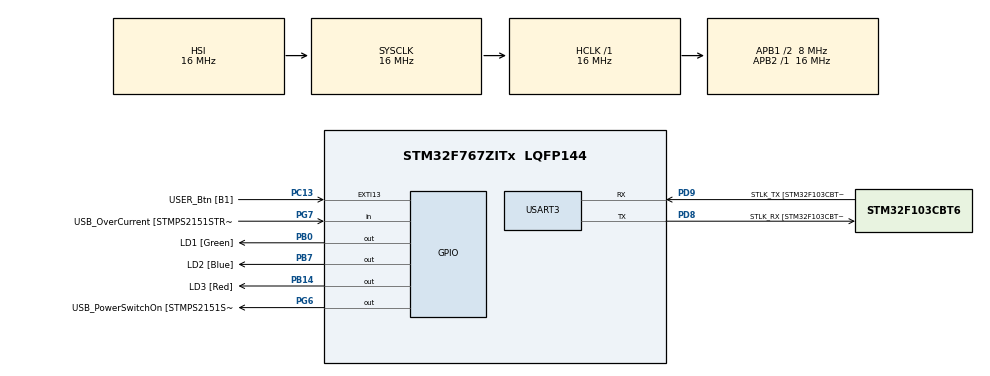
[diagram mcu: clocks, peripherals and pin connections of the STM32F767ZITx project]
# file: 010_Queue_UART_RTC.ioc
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Mcu.Family=STM32F7
Mcu.Name=STM32F767ZITx
Mcu.Package=LQFP144
NVIC.PriorityGroup=NVIC_PRIORITYGROUP_4
NVIC.TIM6_DAC_IRQn=true\:15\:0\:false\:false\:true\:false\:true\:true
NVIC.TimeBase=TIM6_DAC_IRQn
NVIC.TimeBaseIP=TIM6
NVIC.USART3_IRQn=true\:7\:0\:true\:false\:true\:true\:true\:true
PA1.GPIO_Label=RMII_REF_CLK [LAN8742A-CZ-TR_REFCLK0]
PA1.Signal=ETH_REF_CLK
PA10.GPIO_Label=USB_ID
PA10.Signal=USB_OTG_FS_ID
PA11.GPIO_Label=USB_DM
PA11.Signal=USB_OTG_FS_DM
PA12.GPIO_Label=USB_DP
PA12.Signal=USB_OTG_FS_DP
PA13.GPIO_Label=TMS
PA13.Signal=SYS_JTMS-SWDIO
PA14.GPIO_Label=TCK
PA14.Signal=SYS_JTCK-SWCLK
PA2.GPIO_Label=RMII_MDIO [LAN8742A-CZ-TR_MDIO]
PA2.Signal=ETH_MDIO
PA7.GPIO_Label=RMII_CRS_DV [LAN8742A-CZ-TR_CRS_DV]
PA7.Signal=ETH_CRS_DV
PA8.GPIO_Label=USB_SOF [TP1]
PA8.Signal=USB_OTG_FS_SOF
PA9.GPIO_Label=USB_VBUS
PA9.Signal=USB_OTG_FS_VBUS
PB0.GPIO_Label=LD1 [Green]
PB0.Signal=GPIO_Output
PB13.GPIO_Label=RMII_TXD1 [LAN8742A-CZ-TR_TXD1]
PB13.Signal=ETH_TXD1
PB14.GPIO_Label=LD3 [Red]
PB14.Signal=GPIO_Output
PB3.GPIO_Label=SW0
PB3.Signal=SYS_JTDO-SWO
PB7.GPIO_Label=LD2 [Blue]
PB7.Signal=GPIO_Output
PC1.GPIO_Label=RMII_MDC [LAN8742A-CZ-TR_MDC]
PC1.Signal=ETH_MDC
PC13.GPIO_Label=USER_Btn [B1]
PC13.Signal=GPXTI13
PC14/OSC32_IN.Signal=RCC_OSC32_IN
PC15/OSC32_OUT.Signal=RCC_OSC32_OUT
PC4.GPIO_Label=RMII_RXD0 [LAN8742A-CZ-TR_RXD0]
PC4.Signal=ETH_RXD0
PC5.GPIO_Label=RMII_RXD1 [LAN8742A-CZ-TR_RXD1]
PC5.Signal=ETH_RXD1
PD8.GPIO_Label=STLK_RX [STM32F103CBT6_PA3]
PD8.Mode=Asynchronous
PD8.Signal=USART3_TX
PD9.GPIO_Label=STLK_TX [STM32F103CBT6_PA2]
PD9.Mode=Asynchronous
PD9.Signal=USART3_RX
PG11.GPIO_Label=RMII_TX_EN [LAN8742A-CZ-TR_TXEN]
PG11.Signal=ETH_TX_EN
PG13.GPIO_Label=RMII_TXD0 [LAN8742A-CZ-TR_TXD0]
PG13.Signal=ETH_TXD0
PG6.GPIO_Label=USB_PowerSwitchOn [STMPS2151STR_EN]
PG6.Signal=GPIO_Output
PG7.GPIO_Label=USB_OverCurrent [STMPS2151STR_FAULT]
PG7.Signal=GPIO_Input
PH0/OSC_IN.GPIO_Label=MCO [STM32F103CBT6_PA8]
PH0/OSC_IN.Signal=RCC_OSC_IN
PH1/OSC_OUT.Signal=RCC_OSC_OUT
ProjectManager.HeapSize=0x200
ProjectManager.StackSize=0x400
ProjectManager.TargetToolchain=STM32CubeIDE
RCC.48MHZClocksFreq_Value=24000000
RCC.AHBFreq_Value=16000000
RCC.APB1CLKDivider=RCC_HCLK_DIV2
RCC.APB1Freq_Value=8000000
RCC.APB1TimFreq_Value=16000000
RCC.APB2Freq_Value=16000000
RCC.APB2TimFreq_Value=16000000
RCC.CortexFreq_Value=16000000
RCC.HCLKFreq_Value=16000000
RCC.HSE_VALUE=16000000
RCC.HSI_VALUE=16000000
RCC.LSE_VALUE=32768
RCC.PLLMUL=RCC_PLL_MUL9
RCC.PRESCALERUSB=RCC_USBCLKSOURCE_PLL_DIV1_5
RCC.SYSCLKFreq_VALUE=16000000
RCC.SYSCLKSourceVirtual=RCC_SYSCLKSOURCE_PLLCLK
RCC.USBFreq_Value=96000000
RCC.VCOOutputFreq_Value=192000000
RTC.HourFormat=RTC_HOURFORMAT_12
USART3.VirtualMode-Asynchronous=VM_ASYNC
VP_RTC_VS_RTC_Activate.Mode=RTC_Enabled
VP_SYS_VS_tim6.Mode=TIM6
board=NUCLEO-F767ZI

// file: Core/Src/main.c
/* USER CODE BEGIN Header */
/**
 ******************************************************************************
 * @file           : main.c
 * @brief          : Main program body
 ******************************************************************************
 * @attention
 *
 * Copyright (c) 2025 STMicroelectronics.
 * All rights reserved.
 *
 * This software is licensed under terms that can be found in the LICENSE file
 * in the root directory of this software component.
 * If no LICENSE file comes with this software, it is provided AS-IS.
 *
 ******************************************************************************
 */
/* USER CODE END Header */
#include "main.h"

/* USER CODE BEGIN Includes */
#include "stdio.h"

/* USER CODE END Includes */

RTC_HandleTypeDef hrtc;

UART_HandleTypeDef huart3;

/* USER CODE BEGIN PV */
#define DWT_CTRL					 (*(volatile uint32_t *)0xE0001000)

TaskHandle_t menu_task_handle;
TaskHandle_t led_task_handle;
TaskHandle_t rtc_task_handle;
TaskHandle_t print_task_handle;
TaskHandle_t command_task_handle;

QueueHandle_t xQueueInputData, xQueuePrint;

//SOftware Timer handles
TimerHandle_t led_timer_handle[4];
TimerHandle_t rtc_timer;

/* USER CODE END PV */

void SystemClock_Config(void);
static void MX_GPIO_Init(void);
static void MX_RTC_Init(void);
static void MX_USART3_UART_Init(void);

/* USER CODE BEGIN 0 */
volatile uint8_t user_data;

state_t curr_state =sMainMenu;

/* USER CODE END 0 */

int main(void)
{

	/* USER CODE BEGIN 1 */

	BaseType_t status;

	/* USER CODE END 1 */

	/* MCU Configuration--------------------------------------------------------*/

	/* Reset of all peripherals, Initializes the Flash interface and the Systick. */
	HAL_Init();

	/* Configure the system clock */
	SystemClock_Config();

	/* Initialize all configured peripherals */
	MX_GPIO_Init();
	MX_RTC_Init();
	MX_USART3_UART_Init();
	/* USER CODE BEGIN 2 */
	/* Enable the CYcle counting */
	DWT_CTRL |= (1 << 0);

	/*
	 * Creating 5 tasks for Menu, LED, RTC, Print and Command control
	 */

	status = xTaskCreate(menu_task_handler, "Menu_Task", 200, NULL, 2, &menu_task_handle);

	configASSERT(status = pdPASS);

	status = xTaskCreate(led_task_handler, "LED_Task", 200, NULL, 2, &led_task_handle);

	configASSERT(status = pdPASS);

	status = xTaskCreate(rtc_task_handler, "RTC_Task", 200, NULL, 2, &rtc_task_handle);

	configASSERT(status = pdPASS);

	status = xTaskCreate(print_task_handler, "Print_Task", 200, NULL, 2, &print_task_handle);

	configASSERT(status = pdPASS);

	status = xTaskCreate(command_task_handler, "Command_Task", 200, NULL, 2, &command_task_handle);

	configASSERT(status = pdPASS);

	/*
	 * Creating 2 Queues for Input Data and Print Data
	 */

	xQueueInputData = xQueueCreate( 10, sizeof( char ) );

	configASSERT( xQueueInputData != NULL )

	xQueuePrint = xQueueCreate( 10, sizeof( long unsigned int ) );

	configASSERT( xQueuePrint != NULL )

	//Create Software TImers for LED effects
	for (int i =0;i<4;i++)
		led_timer_handle[i] = xTimerCreate("led_timer", pdMS_TO_TICKS(500), pdTRUE, (void *)(i+1), led_effect_callback);

	rtc_timer = xTimerCreate ("rtc_report_timer",pdMS_TO_TICKS(1000),pdTRUE,NULL,rtc_report_callback);

	// Start Reception of USART3
	HAL_UART_Receive_IT(&huart3, (uint8_t *)&user_data, 1);

	//STart the FreeRTOS Scheduler
	vTaskStartScheduler();

	/* USER CODE END 2 */

	/* Infinite loop */
	while (1)
	{

	}
}

void SystemClock_Config(void)
{
	RCC_OscInitTypeDef RCC_OscInitStruct = {0};
	RCC_ClkInitTypeDef RCC_ClkInitStruct = {0};

	/** Configure the main internal regulator output voltage
	 */
	__HAL_RCC_PWR_CLK_ENABLE();
	__HAL_PWR_VOLTAGESCALING_CONFIG(PWR_REGULATOR_VOLTAGE_SCALE3);

	/** Initializes the RCC Oscillators according to the specified parameters
	 * in the RCC_OscInitTypeDef structure.
	 */
	RCC_OscInitStruct.OscillatorType = RCC_OSCILLATORTYPE_HSI|RCC_OSCILLATORTYPE_LSI;
	RCC_OscInitStruct.HSIState = RCC_HSI_ON;
	RCC_OscInitStruct.HSICalibrationValue = RCC_HSICALIBRATION_DEFAULT;
	RCC_OscInitStruct.LSIState = RCC_LSI_ON;
	RCC_OscInitStruct.PLL.PLLState = RCC_PLL_NONE;
	if (HAL_RCC_OscConfig(&RCC_OscInitStruct) != HAL_OK)
	{
		Error_Handler();
	}

	/** Initializes the CPU, AHB and APB buses clocks
	 */
	RCC_ClkInitStruct.ClockType = RCC_CLOCKTYPE_HCLK|RCC_CLOCKTYPE_SYSCLK
			|RCC_CLOCKTYPE_PCLK1|RCC_CLOCKTYPE_PCLK2;
	RCC_ClkInitStruct.SYSCLKSource = RCC_SYSCLKSOURCE_HSI;
	RCC_ClkInitStruct.AHBCLKDivider = RCC_SYSCLK_DIV1;
	RCC_ClkInitStruct.APB1CLKDivider = RCC_HCLK_DIV2;
	RCC_ClkInitStruct.APB2CLKDivider = RCC_HCLK_DIV1;

	if (HAL_RCC_ClockConfig(&RCC_ClkInitStruct, FLASH_LATENCY_0) != HAL_OK)
	{
		Error_Handler();
	}
}

static void MX_RTC_Init(void)
{

	/** Initialize RTC Only
	 */
	hrtc.Instance = RTC;
	hrtc.Init.HourFormat = RTC_HOURFORMAT_12;
	hrtc.Init.AsynchPrediv = 127;
	hrtc.Init.SynchPrediv = 255;
	hrtc.Init.OutPut = RTC_OUTPUT_DISABLE;
	hrtc.Init.OutPutPolarity = RTC_OUTPUT_POLARITY_HIGH;
	hrtc.Init.OutPutType = RTC_OUTPUT_TYPE_OPENDRAIN;
	if (HAL_RTC_Init(&hrtc) != HAL_OK)
	{
		Error_Handler();
	}

}

static void MX_USART3_UART_Init(void)
{

	huart3.Instance = USART3;
	huart3.Init.BaudRate = 115200;
	huart3.Init.WordLength = UART_WORDLENGTH_8B;
	huart3.Init.StopBits = UART_STOPBITS_1;
	huart3.Init.Parity = UART_PARITY_NONE;
	huart3.Init.Mode = UART_MODE_TX_RX;
	huart3.Init.HwFlowCtl = UART_HWCONTROL_NONE;
	huart3.Init.OverSampling = UART_OVERSAMPLING_16;
	huart3.Init.OneBitSampling = UART_ONE_BIT_SAMPLE_DISABLE;
	huart3.AdvancedInit.AdvFeatureInit = UART_ADVFEATURE_NO_INIT;
	if (HAL_UART_Init(&huart3) != HAL_OK)
	{
		Error_Handler();
	}

}

static void MX_GPIO_Init(void)
{
	GPIO_InitTypeDef GPIO_InitStruct = {0};

	/* GPIO Ports Clock Enable */
	__HAL_RCC_GPIOC_CLK_ENABLE();
	__HAL_RCC_GPIOH_CLK_ENABLE();
	__HAL_RCC_GPIOA_CLK_ENABLE();
	__HAL_RCC_GPIOB_CLK_ENABLE();
	__HAL_RCC_GPIOD_CLK_ENABLE();
	__HAL_RCC_GPIOG_CLK_ENABLE();

	/*Configure GPIO pin Output Level */
	HAL_GPIO_WritePin(GPIOB, LD1_Pin|LD3_Pin|LD2_Pin, GPIO_PIN_RESET);

	/*Configure GPIO pin Output Level */
	HAL_GPIO_WritePin(USB_PowerSwitchOn_GPIO_Port, USB_PowerSwitchOn_Pin, GPIO_PIN_RESET);

	/*Configure GPIO pin : USER_Btn_Pin */
	GPIO_InitStruct.Pin = USER_Btn_Pin;
	GPIO_InitStruct.Mode = GPIO_MODE_IT_RISING;
	GPIO_InitStruct.Pull = GPIO_NOPULL;
	HAL_GPIO_Init(USER_Btn_GPIO_Port, &GPIO_InitStruct);

	/*Configure GPIO pins : RMII_MDC_Pin RMII_RXD0_Pin RMII_RXD1_Pin */
	GPIO_InitStruct.Pin = RMII_MDC_Pin|RMII_RXD0_Pin|RMII_RXD1_Pin;
	GPIO_InitStruct.Mode = GPIO_MODE_AF_PP;
	GPIO_InitStruct.Pull = GPIO_NOPULL;
	GPIO_InitStruct.Speed = GPIO_SPEED_FREQ_VERY_HIGH;
	GPIO_InitStruct.Alternate = GPIO_AF11_ETH;
	HAL_GPIO_Init(GPIOC, &GPIO_InitStruct);

	/*Configure GPIO pins : RMII_REF_CLK_Pin RMII_MDIO_Pin RMII_CRS_DV_Pin */
	GPIO_InitStruct.Pin = RMII_REF_CLK_Pin|RMII_MDIO_Pin|RMII_CRS_DV_Pin;
	GPIO_InitStruct.Mode = GPIO_MODE_AF_PP;
	GPIO_InitStruct.Pull = GPIO_NOPULL;
	GPIO_InitStruct.Speed = GPIO_SPEED_FREQ_VERY_HIGH;
	GPIO_InitStruct.Alternate = GPIO_AF11_ETH;
	HAL_GPIO_Init(GPIOA, &GPIO_InitStruct);

	/*Configure GPIO pins : LD1_Pin LD3_Pin LD2_Pin */
	GPIO_InitStruct.Pin = LD1_Pin|LD3_Pin|LD2_Pin;
	GPIO_InitStruct.Mode = GPIO_MODE_OUTPUT_PP;
	GPIO_InitStruct.Pull = GPIO_NOPULL;
	GPIO_InitStruct.Speed = GPIO_SPEED_FREQ_LOW;
	HAL_GPIO_Init(GPIOB, &GPIO_InitStruct);

	/*Configure GPIO pin : RMII_TXD1_Pin */
	GPIO_InitStruct.Pin = RMII_TXD1_Pin;
	GPIO_InitStruct.Mode = GPIO_MODE_AF_PP;
	GPIO_InitStruct.Pull = GPIO_NOPULL;
	GPIO_InitStruct.Speed = GPIO_SPEED_FREQ_VERY_HIGH;
	GPIO_InitStruct.Alternate = GPIO_AF11_ETH;
	HAL_GPIO_Init(RMII_TXD1_GPIO_Port, &GPIO_InitStruct);

	/*Configure GPIO pin : USB_PowerSwitchOn_Pin */
	GPIO_InitStruct.Pin = USB_PowerSwitchOn_Pin;
	GPIO_InitStruct.Mode = GPIO_MODE_OUTPUT_PP;
	GPIO_InitStruct.Pull = GPIO_NOPULL;
	GPIO_InitStruct.Speed = GPIO_SPEED_FREQ_LOW;
	HAL_GPIO_Init(USB_PowerSwitchOn_GPIO_Port, &GPIO_InitStruct);

	/*Configure GPIO pin : USB_OverCurrent_Pin */
	GPIO_InitStruct.Pin = USB_OverCurrent_Pin;
	GPIO_InitStruct.Mode = GPIO_MODE_INPUT;
	GPIO_InitStruct.Pull = GPIO_NOPULL;
	HAL_GPIO_Init(USB_OverCurrent_GPIO_Port, &GPIO_InitStruct);

	/*Configure GPIO pins : USB_SOF_Pin USB_ID_Pin USB_DM_Pin USB_DP_Pin */
	GPIO_InitStruct.Pin = USB_SOF_Pin|USB_ID_Pin|USB_DM_Pin|USB_DP_Pin;
	GPIO_InitStruct.Mode = GPIO_MODE_AF_PP;
	GPIO_InitStruct.Pull = GPIO_NOPULL;
	GPIO_InitStruct.Speed = GPIO_SPEED_FREQ_VERY_HIGH;
	GPIO_InitStruct.Alternate = GPIO_AF10_OTG_FS;
	HAL_GPIO_Init(GPIOA, &GPIO_InitStruct);

	/*Configure GPIO pin : USB_VBUS_Pin */
	GPIO_InitStruct.Pin = USB_VBUS_Pin;
	GPIO_InitStruct.Mode = GPIO_MODE_INPUT;
	GPIO_InitStruct.Pull = GPIO_NOPULL;
	HAL_GPIO_Init(USB_VBUS_GPIO_Port, &GPIO_InitStruct);

	/*Configure GPIO pins : RMII_TX_EN_Pin RMII_TXD0_Pin */
	GPIO_InitStruct.Pin = RMII_TX_EN_Pin|RMII_TXD0_Pin;
	GPIO_InitStruct.Mode = GPIO_MODE_AF_PP;
	GPIO_InitStruct.Pull = GPIO_NOPULL;
	GPIO_InitStruct.Speed = GPIO_SPEED_FREQ_VERY_HIGH;
	GPIO_InitStruct.Alternate = GPIO_AF11_ETH;
	HAL_GPIO_Init(GPIOG, &GPIO_InitStruct);

}

/* USER CODE BEGIN 4 */

void rtc_report_callback( TimerHandle_t xTimer )
{
	 show_time_date_itm();

}

void led_effect_callback(TimerHandle_t xTimer)
{
	int id ;
	id = (uint32_t) pvTimerGetTimerID(xTimer);

	switch (id)
	{
	case 1:
		led_effect_1();
		break;
	case 2:
		led_effect_2();
		break;
	case 3:
		led_effect_3();
		break;
	case 4:
		led_effect_4();
		break;
	}
}

void HAL_UART_RxCpltCallback(UART_HandleTypeDef *huart)
{
	uint8_t dummy;

	if(! xQueueIsQueueFullFromISR(xQueueInputData))
	{
		/*Queue is not full */
		xQueueSendFromISR(xQueueInputData,(void *)&user_data,NULL);

	}else{
		/*Queue is full */

		if(user_data == '\n')
		{
			/*user_data = '\n' */

			/* Make sure the last data byte of the queue is /n */
			xQueueReceiveFromISR(xQueueInputData,(void *)&dummy,NULL);
			xQueueSendFromISR(xQueueInputData,(void *)&user_data,NULL);

		}
	}

	/*send notification to command handling task if user_data = '\n' */
	if(user_data == '\n')
	{
		xTaskNotifyFromISR(command_task_handle,0, eNoAction,NULL);
	}

	/*Enable UART data byte reception again in IT mode */
	HAL_UART_Receive_IT(&huart3, (uint8_t *)&user_data, 1);

}

/* USER CODE END 4 */

void HAL_TIM_PeriodElapsedCallback(TIM_HandleTypeDef *htim)
{
	if (htim->Instance == TIM6) {
		HAL_IncTick();
	}
}

void Error_Handler(void)
{
	__disable_irq();
	while (1)
	{
	}
}
